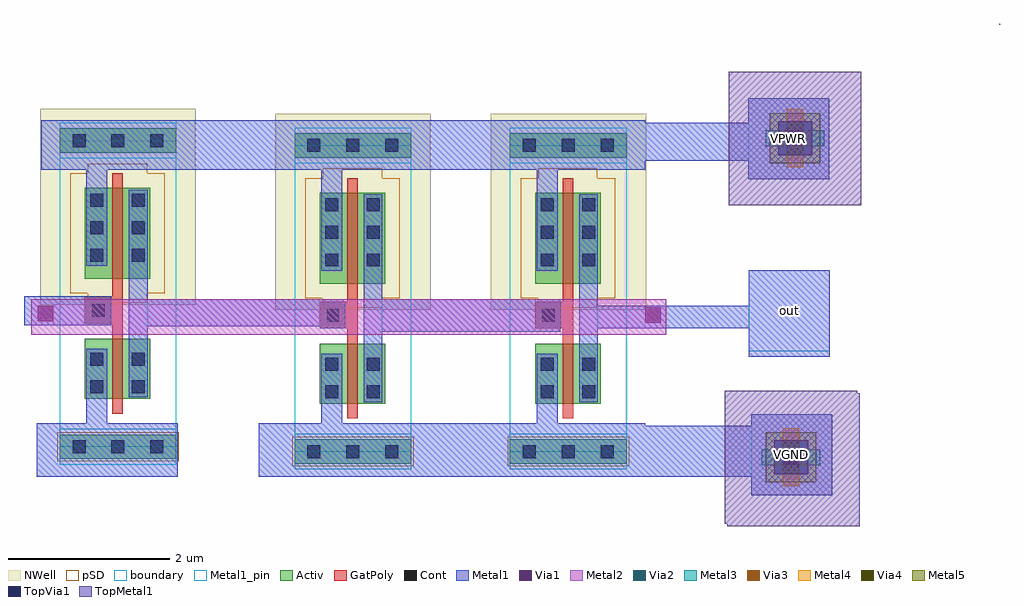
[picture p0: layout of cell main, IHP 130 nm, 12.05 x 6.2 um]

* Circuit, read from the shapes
.subckt main VGND VPWR out
XM1 sg13g2_inv_1_4/A out VGND VGND sg13_lv_nmos w=0.74u l=0.13u
XM2 sg13g2_inv_1_3/A sg13g2_inv_1_4/A VGND VGND sg13_lv_nmos w=0.74u l=0.13u
XM3 out sg13g2_inv_1_3/A VGND VGND sg13_lv_nmos w=0.74u l=0.13u
XM4 sg13g2_inv_1_4/A out VPWR VPWR sg13_lv_pmos w=1.12u l=0.13u
XM5 sg13g2_inv_1_3/A sg13g2_inv_1_4/A VPWR VPWR sg13_lv_pmos w=1.12u l=0.13u
XM6 out sg13g2_inv_1_3/A VPWR VPWR sg13_lv_pmos w=1.12u l=0.13u
.ends

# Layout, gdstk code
import gdstk
lib = gdstk.Library(unit=1e-6, precision=1e-09)
def R(c, l, rs):  # rectangles x0, y0, x1, y1
    for r in rs: c.add(gdstk.rectangle(r[:2], r[2:], *l))
def A(c, l, x, y, w, h, nx, ny, dx, dy):  # array of equal rectangles
    R(c, l, [(x+i*dx, y+j*dy, x+i*dx+w, y+j*dy+h) for i in range(nx) for j in range(ny)])
Activ = (1, 0)
GatPoly = (5, 0)
Cont = (6, 0)
Metal1 = (8, 0)
Metal1_pin = (8, 2)
Metal2 = (10, 0)
pSD = (14, 0)
Via1 = (19, 0)
Via2 = (29, 0)
Metal3 = (30, 0)
NWell = (31, 0)
Via3 = (49, 0)
Metal4 = (50, 0)
Via4 = (66, 0)
Metal5 = (67, 0)
TopVia1 = (125, 0)
TopMetal1 = (126, 0)
boundary = (189, 4)

via_vhgr6d = lib.new_cell('via_VHGR6D')
R(via_vhgr6d, Metal1, [(-0.145,-0.105,0.145,0.105)])
R(via_vhgr6d, Metal2, [(-0.1,-0.36,0.1,0.36)])
R(via_vhgr6d, Via1, [(-0.095,-0.095,0.095,0.095)])
R(via_vhgr6d, Via2, [(-0.095,-0.095,0.095,0.095)])
R(via_vhgr6d, Metal3, [(-0.36,-0.1,0.36,0.1)])
R(via_vhgr6d, Via3, [(-0.095,-0.095,0.095,0.095)])
R(via_vhgr6d, Metal4, [(-0.1,-0.36,0.1,0.36)])
R(via_vhgr6d, Via4, [(-0.095,-0.095,0.095,0.095)])
R(via_vhgr6d, Metal5, [(-0.31,-0.31,0.31,0.31)])
R(via_vhgr6d, TopVia1, [(-0.21,-0.21,0.21,0.21)])
R(via_vhgr6d, TopMetal1, [(-0.82,-0.82,0.82,0.82)])

sg13g2_inv_1 = lib.new_cell('sg13g2_inv_1')
R(sg13g2_inv_1, Activ, [(0,-0.15,1.44,0.15), (0.31,0.59,1.12,1.33), (0.31,2.075,1.12,3.195), (0,3.63,1.44,3.93)])
R(sg13g2_inv_1, GatPoly, [(0.65,0.41,0.78,1.52), (0.31,1.52,0.78,1.85), (0.65,1.85,0.78,3.375)])
A(sg13g2_inv_1, Cont, 0.16, -0.08, 0.16, 0.16, 3, 2, 0.48, 3.78)
A(sg13g2_inv_1, Cont, 0.38, 2.285, 0.16, 0.16, 1, 3, 0, 0.34)
A(sg13g2_inv_1, Cont, 0.89, 2.285, 0.16, 0.16, 1, 3, 0, 0.34)
R(sg13g2_inv_1, Cont, [(0.38,0.66,0.54,0.82), (0.89,0.66,1.05,0.82), (0.38,1,0.54,1.16), (0.89,1,1.05,1.16), (0.395,1.605,0.555,1.765)])
R(sg13g2_inv_1, Metal1, [(0,-0.22,1.44,0.22), (0.33,0.22,0.59,1.21), (0.855,0.61,1.085,3.175), (0.31,1.52,0.625,1.85), (0.33,2.235,0.59,3.56), (0,3.56,1.44,4)])
R(sg13g2_inv_1, Metal1_pin, [(0,-0.22,1.44,0.22), (0.855,0.61,1.085,3.175), (0.31,1.52,0.625,1.85), (0,3.56,1.44,4)])
R(sg13g2_inv_1, pSD, [(-0.03,-0.18,1.47,0.18), (0.35,1.775,1.08,1.895), (0.13,1.895,1.3,3.375), (0.35,3.375,1.08,3.495)])
R(sg13g2_inv_1, NWell, [(-0.24,1.75,1.68,4.17)])
R(sg13g2_inv_1, boundary, [(0,0,1.44,3.78)])
sg13g2_inv_1.add(gdstk.Label('Y', (0.97,1.892), layer=8, texttype=25))
sg13g2_inv_1.add(gdstk.Label('A', (0.467,1.685), layer=8, texttype=25))
sg13g2_inv_1.add(gdstk.Label('VSS', (0.72,0), layer=8, texttype=25))
sg13g2_inv_1.add(gdstk.Label('VDD', (0.72,3.78), layer=8, texttype=25))

main = lib.new_cell('main')
R(main, Activ, [(5.11,0.97,5.18,1.1)])
R(main, Metal1, [(7.08,-0.3,8.08,-0.07), (-1.74,-0.07,0,0.59), (1,-0.07,8.08,0.56), (1,0.56,5.77,0.59), (7.08,0.56,8.08,0.7), (7.05,1.41,8.05,1.76), (2.33,1.72,4.72,2.12), (4.98,1.76,8.05,2.04), (-0.6,1.79,2.05,2.12), (-1.9,1.8,-0.82,2.16), (7.05,2.04,8.05,2.48), (7.04,3.6,8.04,3.83), (-1.69,3.72,5.77,3.83), (-1.69,3.83,8.04,4.3), (-1.69,4.3,5.77,4.33), (7.04,4.3,8.04,4.6)])
R(main, Metal1_pin, [(7.08,-0.3,8.08,0.7), (7.05,1.48,8.05,2.48), (7.04,3.6,8.04,4.6)])
R(main, Metal2, [(-1.81,1.68,6.03,2.12)])
R(main, Via1, [(5.77,1.83,5.96,2.02), (-1.73,1.85,-1.54,2.04)])
R(main, NWell, [(2.22,2.4,2.26,2.88)])
R(main, TopMetal1, [(6.78,-0.68,8.42,0.96), (6.8,3.28,8.44,4.92), (10.14,5.51,10.15,5.52)])
main.add(gdstk.Reference(via_vhgr6d, (7.62,4.11)))
main.add(gdstk.Reference(via_vhgr6d, (7.57,0.17)))
main.add(gdstk.Reference(sg13g2_inv_1, (-1.46,0.3)))
main.add(gdstk.Reference(sg13g2_inv_1, (4.1,0.24)))
main.add(gdstk.Reference(sg13g2_inv_1, (1.44,0.24)))
main.add(gdstk.Label('out', (7.55,1.98), layer=8, texttype=25))
main.add(gdstk.Label('VPWR', (7.54,4.1), layer=8, texttype=25))
main.add(gdstk.Label('VGND', (7.58,0.2), layer=8, texttype=25))

lib.write_gds('main.gds')
